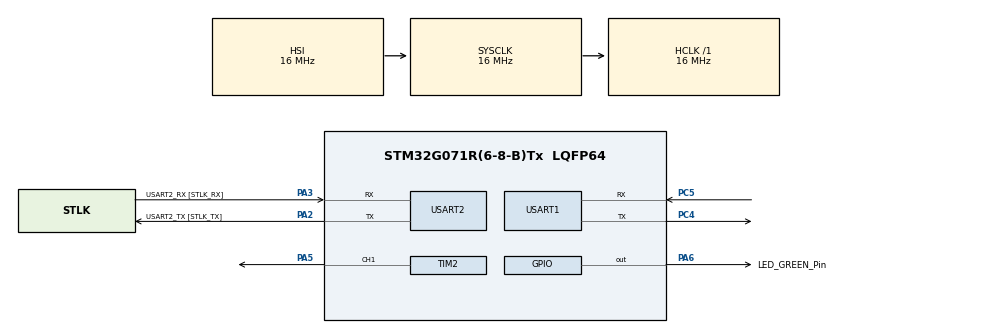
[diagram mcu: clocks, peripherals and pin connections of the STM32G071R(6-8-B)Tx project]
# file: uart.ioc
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Mcu.Family=STM32G0
Mcu.Name=STM32G071R(6-8-B)Tx
Mcu.Package=LQFP64
NVIC.USART1_IRQn=true\:0\:0\:false\:false\:true\:true\:true\:true
NVIC.USART2_IRQn=true\:0\:0\:false\:false\:true\:true\:true\:true
PA13.GPIO_Label=TMS
PA13.Mode=Serial_Wire
PA13.Signal=SYS_SWDIO
PA14-BOOT0.GPIO_Label=TCK
PA14-BOOT0.Mode=Serial_Wire
PA14-BOOT0.Signal=SYS_SWCLK
PA2.GPIO_Label=USART2_TX [STLK_TX]
PA2.GPIO_PuPd=GPIO_PULLUP
PA2.Mode=Asynchronous
PA2.Signal=USART2_TX
PA3.GPIO_Label=USART2_RX [STLK_RX]
PA3.GPIO_PuPd=GPIO_PULLUP
PA3.Mode=Asynchronous
PA3.Signal=USART2_RX
PA5.Signal=S_TIM2_CH1_ETR
PA6.GPIO_Label=LED_GREEN_Pin
PA6.Signal=GPIO_Output
PC13.Mode=SYS_WakeUp1
PC13.Signal=SYS_WKUP2
PC14-OSC32_IN\ (PC14).Mode=LSE-External-Oscillator
PC14-OSC32_IN\ (PC14).Signal=RCC_OSC32_IN
PC15-OSC32_OUT\ (PC15).Mode=LSE-External-Oscillator
PC15-OSC32_OUT\ (PC15).Signal=RCC_OSC32_OUT
PC4.Mode=Asynchronous
PC4.Signal=USART1_TX
PC5.Mode=Asynchronous
PC5.Signal=USART1_RX
PF0-OSC_IN\ (PF0).GPIO_Label=MCO
PF0-OSC_IN\ (PF0).Mode=HSE-External-Clock-Source
PF0-OSC_IN\ (PF0).Signal=RCC_OSC_IN
ProjectManager.HeapSize=0x200
ProjectManager.StackSize=0x400
ProjectManager.TargetToolchain=STM32CubeIDE
RCC.AHBFreq_Value=16000000
RCC.CortexFreq_Value=16000000
RCC.EXTERNAL_CLOCK_VALUE=12288000
RCC.HCLKFreq_Value=16000000
RCC.HSE_VALUE=8000000
RCC.HSI_VALUE=16000000
RCC.SYSCLKFreq_VALUE=16000000
RCC.VCOOutputFreq_Value=128000000
SH.S_TIM2_CH1_ETR.0=TIM2_CH1,PWM Generation1 CH1
TIM2.Channel-PWM\ Generation1\ CH1=TIM_CHANNEL_1
TIM2.Period=50000
USART1.VirtualMode-Asynchronous=VM_ASYNC
USART2.VirtualMode-Asynchronous=VM_ASYNC
VP_TIM2_VS_ClockSourceINT.Mode=Internal
board=NUCLEO-G071RB

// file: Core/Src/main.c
/* USER CODE BEGIN Header */
/**
  ******************************************************************************
  * @file           : main.c
  * @brief          : Main program body
  ******************************************************************************
  */
/* USER CODE END Header */
#include "main.h"
#include <string.h>
#include <stdlib.h>
#include <stdio.h>

TIM_HandleTypeDef htim2;

UART_HandleTypeDef huart1;
UART_HandleTypeDef huart2;

/* USER CODE BEGIN PV */
uint8_t rx1, rx2;
uint32_t pwm_value = 0;
uint8_t breathing_direction = 1; // 1 = zwiększanie, 0 = zmniejszanie
uint32_t breathing_counter = 0;
uint8_t breathing_mode = 1; // 1 = oddychanie, 0 = stała jasność
uint8_t input_buffer[10];
uint8_t input_index = 0;
uint8_t brightness_percent = 50; // domyślna jasność 50%
/* USER CODE END PV */

void SystemClock_Config(void);
static void MX_GPIO_Init(void);
static void MX_USART2_UART_Init(void);
static void MX_USART1_UART_Init(void);
static void MX_TIM2_Init(void);
/* USER CODE BEGIN PFP */
void SetBrightness(uint8_t percent);
void ProcessInput(uint8_t data);
/* USER CODE END PFP */

int main(void)
{

  /* MCU Configuration--------------------------------------------------------*/

  /* Reset of all peripherals, Initializes the Flash interface and the Systick. */
  HAL_Init();

  /* Configure the system clock */
  SystemClock_Config();

  /* Initialize all configured peripherals */
  MX_GPIO_Init();
  MX_USART2_UART_Init();
  MX_USART1_UART_Init();
  MX_TIM2_Init();
  /* USER CODE BEGIN 2 */
  HAL_UART_Receive_IT(&huart1, &rx1, 1);
  HAL_UART_Receive_IT(&huart2, &rx2, 1);

  // Uruchomienie PWM na kanale 1 (dioda)
  HAL_TIM_PWM_Start(&htim2, TIM_CHANNEL_1);

  // Wyślij instrukcje na start
  char* welcome_msg = "Wpisz liczbe 0-100 i nacisnij Enter aby ustawic jasnosc LED\r\nWpisz 'b' aby wlaczyc tryb oddychania\r\n> ";
  HAL_UART_Transmit(&huart2, (uint8_t*)welcome_msg, strlen(welcome_msg), HAL_MAX_DELAY);
  /* USER CODE END 2 */

  /* Infinite loop */
  /* USER CODE BEGIN WHILE */
  while (1)
  {
    if (breathing_mode)
    {
      // Efekt oddychania diody
      breathing_counter++;
      if (breathing_counter >= 3000) // Opóźnienie dla płynnego efektu
      {
        breathing_counter = 0;

        if (breathing_direction == 1) // Zwiększanie jasności
        {
          pwm_value += 200; // Krok zwiększania
          if (pwm_value >= 50000) // Maksymalna wartość PWM
          {
            pwm_value = 50000;
            breathing_direction = 0; // Zmieniamy kierunek na zmniejszanie
          }
        }
        else // Zmniejszanie jasności
        {
          if (pwm_value >= 200)
          {
            pwm_value -= 200; // Krok zmniejszania
          }
          else
          {
            pwm_value = 0;
            breathing_direction = 1; // Zmieniamy kierunek na zwiększanie
          }
        }

        // Ustawienie nowej wartości PWM
        __HAL_TIM_SET_COMPARE(&htim2, TIM_CHANNEL_1, pwm_value);
      }
    }

    /* USER CODE END WHILE */

  }
}

void SystemClock_Config(void)
{
  RCC_OscInitTypeDef RCC_OscInitStruct = {0};
  RCC_ClkInitTypeDef RCC_ClkInitStruct = {0};

  /** Configure the main internal regulator output voltage
  */
  HAL_PWREx_ControlVoltageScaling(PWR_REGULATOR_VOLTAGE_SCALE1);

  /** Initializes the RCC Oscillators according to the specified parameters
  * in the RCC_OscInitStruct structure.
  */
  RCC_OscInitStruct.OscillatorType = RCC_OSCILLATORTYPE_HSI;
  RCC_OscInitStruct.HSIState = RCC_HSI_ON;
  RCC_OscInitStruct.HSIDiv = RCC_HSI_DIV1;
  RCC_OscInitStruct.HSICalibrationValue = RCC_HSICALIBRATION_DEFAULT;
  RCC_OscInitStruct.PLL.PLLState = RCC_PLL_NONE;
  if (HAL_RCC_OscConfig(&RCC_OscInitStruct) != HAL_OK)
  {
    Error_Handler();
  }

  /** Initializes the CPU, AHB and APB buses clocks
  */
  RCC_ClkInitStruct.ClockType = RCC_CLOCKTYPE_HCLK|RCC_CLOCKTYPE_SYSCLK
                              |RCC_CLOCKTYPE_PCLK1;
  RCC_ClkInitStruct.SYSCLKSource = RCC_SYSCLKSOURCE_HSI;
  RCC_ClkInitStruct.AHBCLKDivider = RCC_SYSCLK_DIV1;
  RCC_ClkInitStruct.APB1CLKDivider = RCC_HCLK_DIV1;

  if (HAL_RCC_ClockConfig(&RCC_ClkInitStruct, FLASH_LATENCY_0) != HAL_OK)
  {
    Error_Handler();
  }
}

static void MX_TIM2_Init(void)
{

  TIM_ClockConfigTypeDef sClockSourceConfig = {0};
  TIM_MasterConfigTypeDef sMasterConfig = {0};
  TIM_OC_InitTypeDef sConfigOC = {0};

  htim2.Instance = TIM2;
  htim2.Init.Prescaler = 0;
  htim2.Init.CounterMode = TIM_COUNTERMODE_UP;
  htim2.Init.Period = 50000;
  htim2.Init.ClockDivision = TIM_CLOCKDIVISION_DIV1;
  htim2.Init.AutoReloadPreload = TIM_AUTORELOAD_PRELOAD_DISABLE;
  if (HAL_TIM_Base_Init(&htim2) != HAL_OK)
  {
    Error_Handler();
  }
  sClockSourceConfig.ClockSource = TIM_CLOCKSOURCE_INTERNAL;
  if (HAL_TIM_ConfigClockSource(&htim2, &sClockSourceConfig) != HAL_OK)
  {
    Error_Handler();
  }
  if (HAL_TIM_PWM_Init(&htim2) != HAL_OK)
  {
    Error_Handler();
  }
  sMasterConfig.MasterOutputTrigger = TIM_TRGO_RESET;
  sMasterConfig.MasterSlaveMode = TIM_MASTERSLAVEMODE_DISABLE;
  if (HAL_TIMEx_MasterConfigSynchronization(&htim2, &sMasterConfig) != HAL_OK)
  {
    Error_Handler();
  }
  sConfigOC.OCMode = TIM_OCMODE_PWM1;
  sConfigOC.Pulse = 0;
  sConfigOC.OCPolarity = TIM_OCPOLARITY_HIGH;
  sConfigOC.OCFastMode = TIM_OCFAST_DISABLE;
  if (HAL_TIM_PWM_ConfigChannel(&htim2, &sConfigOC, TIM_CHANNEL_1) != HAL_OK)
  {
    Error_Handler();
  }
  HAL_TIM_MspPostInit(&htim2);

}

static void MX_USART1_UART_Init(void)
{

  huart1.Instance = USART1;
  huart1.Init.BaudRate = 115200;
  huart1.Init.WordLength = UART_WORDLENGTH_8B;
  huart1.Init.StopBits = UART_STOPBITS_1;
  huart1.Init.Parity = UART_PARITY_NONE;
  huart1.Init.Mode = UART_MODE_TX_RX;
  huart1.Init.HwFlowCtl = UART_HWCONTROL_NONE;
  huart1.Init.OverSampling = UART_OVERSAMPLING_16;
  huart1.Init.OneBitSampling = UART_ONE_BIT_SAMPLE_DISABLE;
  huart1.Init.ClockPrescaler = UART_PRESCALER_DIV1;
  huart1.AdvancedInit.AdvFeatureInit = UART_ADVFEATURE_NO_INIT;
  if (HAL_UART_Init(&huart1) != HAL_OK)
  {
    Error_Handler();
  }
  if (HAL_UARTEx_SetTxFifoThreshold(&huart1, UART_TXFIFO_THRESHOLD_1_8) != HAL_OK)
  {
    Error_Handler();
  }
  if (HAL_UARTEx_SetRxFifoThreshold(&huart1, UART_RXFIFO_THRESHOLD_1_8) != HAL_OK)
  {
    Error_Handler();
  }
  if (HAL_UARTEx_DisableFifoMode(&huart1) != HAL_OK)
  {
    Error_Handler();
  }

}

static void MX_USART2_UART_Init(void)
{

  huart2.Instance = USART2;
  huart2.Init.BaudRate = 115200;
  huart2.Init.WordLength = UART_WORDLENGTH_8B;
  huart2.Init.StopBits = UART_STOPBITS_1;
  huart2.Init.Parity = UART_PARITY_NONE;
  huart2.Init.Mode = UART_MODE_TX_RX;
  huart2.Init.HwFlowCtl = UART_HWCONTROL_NONE;
  huart2.Init.OverSampling = UART_OVERSAMPLING_16;
  huart2.Init.OneBitSampling = UART_ONE_BIT_SAMPLE_DISABLE;
  huart2.Init.ClockPrescaler = UART_PRESCALER_DIV1;
  huart2.AdvancedInit.AdvFeatureInit = UART_ADVFEATURE_NO_INIT;
  if (HAL_UART_Init(&huart2) != HAL_OK)
  {
    Error_Handler();
  }
  if (HAL_UARTEx_SetTxFifoThreshold(&huart2, UART_TXFIFO_THRESHOLD_1_8) != HAL_OK)
  {
    Error_Handler();
  }
  if (HAL_UARTEx_SetRxFifoThreshold(&huart2, UART_RXFIFO_THRESHOLD_1_8) != HAL_OK)
  {
    Error_Handler();
  }
  if (HAL_UARTEx_DisableFifoMode(&huart2) != HAL_OK)
  {
    Error_Handler();
  }

}

static void MX_GPIO_Init(void)
{
  GPIO_InitTypeDef GPIO_InitStruct = {0};

  /* GPIO Ports Clock Enable */
  __HAL_RCC_GPIOC_CLK_ENABLE();
  __HAL_RCC_GPIOF_CLK_ENABLE();
  __HAL_RCC_GPIOA_CLK_ENABLE();

  /*Configure GPIO pin Output Level */
  HAL_GPIO_WritePin(LED_GREEN_Pin_GPIO_Port, LED_GREEN_Pin_Pin, GPIO_PIN_RESET);

  /*Configure GPIO pin : LED_GREEN_Pin_Pin */
  GPIO_InitStruct.Pin = LED_GREEN_Pin_Pin;
  GPIO_InitStruct.Mode = GPIO_MODE_OUTPUT_PP;
  GPIO_InitStruct.Pull = GPIO_NOPULL;
  GPIO_InitStruct.Speed = GPIO_SPEED_FREQ_LOW;
  HAL_GPIO_Init(LED_GREEN_Pin_GPIO_Port, &GPIO_InitStruct);

}

/* USER CODE BEGIN 4 */
void SetBrightness(uint8_t percent)
{
  if (percent > 100) percent = 100;

  // Przelicz procent na wartość PWM (0-50000)
  uint32_t pwm_val = (uint32_t)((percent * 50000) / 100);

  // Ustaw PWM
  __HAL_TIM_SET_COMPARE(&htim2, TIM_CHANNEL_1, pwm_val);

  // Wyślij potwierdzenie
  char response[50];
  sprintf(response, "Jasnosc ustawiona na: %d%%\r\n> ", percent);
  HAL_UART_Transmit(&huart2, (uint8_t*)response, strlen(response), HAL_MAX_DELAY);
}

void ProcessInput(uint8_t data)
{
  // Echo znaku
  HAL_UART_Transmit(&huart2, &data, 1, HAL_MAX_DELAY);

  if (data == '\r' || data == '\n') // Enter
  {
    if (input_index > 0)
    {
      input_buffer[input_index] = '\0'; // Zakończ string

      // Sprawdź czy to komenda 'b' dla trybu oddychania
      if (input_buffer[0] == 'b' && input_index == 1)
      {
        breathing_mode = 1;
        HAL_UART_Transmit(&huart2, (uint8_t*)"\r\nTryb oddychania wlaczony\r\n> ", 30, HAL_MAX_DELAY);
      }
      else
      {
        // Konwertuj na liczbę
        int value = atoi((char*)input_buffer);
        if (value >= 0 && value <= 100)
        {
          breathing_mode = 0; // Wyłącz tryb oddychania
          brightness_percent = value;
          SetBrightness(brightness_percent);
        }
        else
        {
          HAL_UART_Transmit(&huart2, (uint8_t*)"\r\nBledna wartosc! Wpisz liczbe 0-100\r\n> ", 42, HAL_MAX_DELAY);
        }
      }

      input_index = 0; // Resetuj bufor
    }
    else
    {
      HAL_UART_Transmit(&huart2, (uint8_t*)"\r\n> ", 4, HAL_MAX_DELAY);
    }
  }
  else if (data == 8 || data == 127) // Backspace
  {
    if (input_index > 0)
    {
      input_index--;
      HAL_UART_Transmit(&huart2, (uint8_t*)"\b \b", 3, HAL_MAX_DELAY);
    }
  }
  else if (data >= '0' && data <= '9' && input_index < sizeof(input_buffer) - 1)
  {
    input_buffer[input_index++] = data;
  }
  else if (data == 'b' && input_index < sizeof(input_buffer) - 1)
  {
    input_buffer[input_index++] = data;
  }
}

void HAL_UART_RxCpltCallback(UART_HandleTypeDef *huart)
{
  if (huart->Instance == USART1)
  {
    ProcessInput(rx1);
    HAL_UART_Receive_IT(&huart1, &rx1, 1);
  }
  else if (huart->Instance == USART2)
  {
    ProcessInput(rx2);
    HAL_UART_Receive_IT(&huart2, &rx2, 1);
  }
}
/* USER CODE END 4 */

void Error_Handler(void)
{
  __disable_irq();
  while (1)
  {
  }
}
